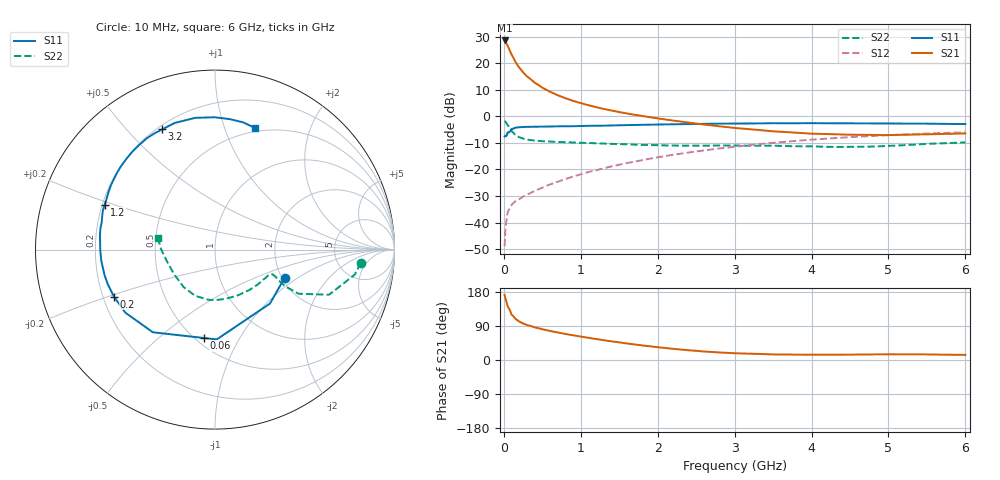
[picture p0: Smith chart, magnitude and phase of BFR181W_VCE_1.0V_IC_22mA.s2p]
! Infineon Technologies  Discrete & RF Semiconductors
! BFR181W
! VCE =  1.0 V,  IC =  22 mA
! Common Emitter S-Parameters:  Jan 2017
# GHz  S  MA  R  50
!  f  S11  S21  S12  S22
! GHz  MAG  ANG  MAG  ANG  MAG  ANG  MAG  ANG
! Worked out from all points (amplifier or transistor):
!   77 points, 10 MHz to 6 GHz, reference 50 ohm
!   highest |S21| = 28.5 dB at 10 MHz (marker M1)
!   |S21| within 3 dB of that: start of sweep to 65.5 MHz
!   unconditionally stable (mu >= 1): start of sweep to 15.58 MHz; 191.5 MHz to end of sweep
!   at 130 MHz: K = 0.78, MSG = 27.1 dB, |S12| = -32.5 dB
!   at 2.2 GHz: K = 1.39, MAG = 2.7 dB, |S12| = -14.5 dB
!   at 6 GHz: K = 1.26, MAG = -3.3 dB, |S12| = -6.0 dB
!   S11 on the Smith chart (normalised r, x): 10 MHz: 2.07, -0.79; 60 MHz: 0.55, -0.72; 200 MHz: 0.24, -0.21; 1.2 GHz: 0.21, +0.19; 3.2 GHz: 0.22, +0.63; 6 GHz: 0.46, +1.28
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0.01  0.4187 -22.0  26.68 171.8  0.0036 71.7  0.8159 -5.2
0.02  0.4293 -44.4  25.79 162.5  0.0072 73.8  0.7915 -10.1
0.05  0.5005 -88.9  21.2 141.3  0.0155 56.8  0.6834 -21.6
0.06  0.4963 -97.1  19.69 138.2  0.0167 54.9  0.6517 -22.6
0.1  0.5761 -126.9  14.51 120.0  0.0215 49.6  0.5275 -27.8
0.15  0.6107 -144.9  10.62 109.0  0.0252 45.9  0.4456 -27.7
0.2  0.621 -155.0  8.234 101.6  0.0275 47.2  0.4032 -26.2
0.25  0.6277 -162.1  6.709 96.4  0.0308 49.8  0.3811 -24.9
0.3  0.6317 -167.0  5.648 92.4  0.0334 52.3  0.3648 -23.9
0.4  0.6365 -174.2  4.296 86.1  0.0392 56.5  0.349 -23.3
0.5  0.6392 -179.5  3.451 81.1  0.0455 60.0  0.3397 -23.8
0.7  0.6462 172.8  2.49 72.7  0.0586 66.1  0.3292 -26.0
0.9  0.6495 166.3  1.949 65.2  0.0734 68.8  0.3213 -29.9
1.1  0.6614 160.8  1.612 58.6  0.0893 70.6  0.3145 -34.4
1.2  0.6635 158.0  1.483 55.3  0.0966 70.8  0.3102 -36.8
1.6  0.6818 148.2  1.129 43.6  0.1317 71.5  0.2971 -48.3
2.1  0.7025 136.5  0.87 31.7  0.1784 69.0  0.283 -65.5
3.1  0.7305 115.7  0.586 17.2  0.2771 59.7  0.2799 -100.6
3.2  0.7317 113.7  0.57 16.7  0.2869 58.6  0.2787 -103.7
4.1  0.7401 96.8  0.467 14.0  0.3712 47.8  0.2687 -133.7
5.1  0.73 82.5  0.446 14.9  0.4471 35.4  0.281 -170.6
6  0.7133 71.7  0.475 13.4  0.5013 25.1  0.3231 168.7
